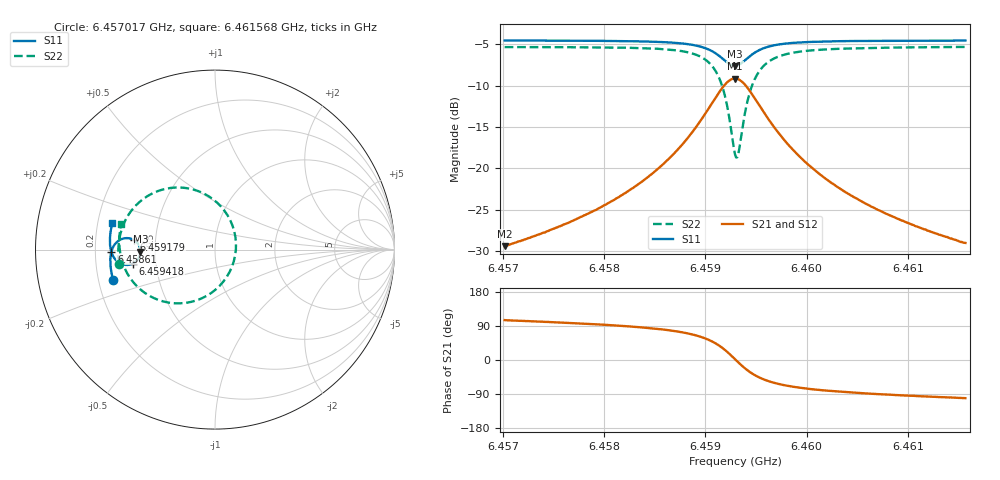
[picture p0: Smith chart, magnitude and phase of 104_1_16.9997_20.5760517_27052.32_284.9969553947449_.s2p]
#  HZ  S  RI  R  50.00
! Rohde & Schwarz Vector Network Analyzer
! Rohde-Schwarz,ZNB20-2Port,1311601062101988,3.16
! Created: UTC 3/20/2024, 10:56:45 PM
! freq[Hz]  re:S11  im:S11  re:S21  im:S21  re:S12  im:S12  re:S22  im:S22
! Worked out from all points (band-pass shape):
!   401 points, 6.457017 GHz to 6.461568 GHz, reference 50 ohm
!   highest |S21| = -9.15 dB at 6.459292 GHz (marker M1); lowest = -29.4 dB at 6.457017 GHz (marker M2)
!   |S21| within 3 dB of the highest: 6.459065 GHz to 6.45952 GHz (455.2 kHz wide, 0.00705 % of centre)
!   lowest |S11| = -7.6 dB at 6.459292 GHz (marker M3), VSWR 2.42, Z = 20.6 - j0.544 ohm
!   |S11| at or under -10 dB: nowhere
!   |S22| runs from -18.7 to -5.3 dB; largest |S21 - S12| = 0.014
!   S11 on the Smith chart (normalised r, x): 6.457017 GHz: 0.26, -0.14; 6.45861 GHz: 0.27, -0.01; 6.459179 GHz: 0.38, +0.05; 6.459418 GHz: 0.37, -0.07; 6.461568 GHz: 0.26, +0.12
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6.4570169e9  -0.5668 -0.1706  -0.00897 0.0328  -0.00712 0.0328  -0.5336 -0.0806
6.4577792e9  -0.5807 -0.1035  -0.00541 0.0509  -0.00293 0.0502  -0.5386 0.00894
6.4582002e9  -0.5835 -0.0613  0.000616 0.0707  0.00386 0.0692  -0.5298 0.0765
6.4585415e9  -0.5795 -0.0202  0.0147 0.0996  0.0186 0.097  -0.5037 0.1541
6.4586098e9  -0.5772 -0.0106  0.02 0.1082  0.0241 0.1049  -0.4935 0.1742
6.4588032e9  -0.5644 0.0199  0.0468 0.1392  0.0511 0.1343  -0.4433 0.2435
6.4589511e9  -0.5415 0.0463  0.0927 0.1701  0.0959 0.1633  -0.3587 0.3079
6.4590877e9  -0.497 0.0639  0.181 0.1867  0.1818 0.1793  -0.1979 0.3459
6.4591787e9  -0.4519 0.0533  0.2718 0.1547  0.272 0.1489  -0.0302 0.294
6.459247e9  -0.4225 0.0206  0.3326 0.0817  0.3347 0.0765  0.0854 0.1625
6.4592925e9  -0.4156 -0.0109  0.3487 0.0131  0.3526 0.00607  0.1169 0.0341
6.4593039e9  -0.4159 -0.019  0.3485 -0.0048  0.3526 -0.0125  0.1164 0.000129
6.4593266e9  -0.4196 -0.0348  0.3428 -0.0399  0.3467 -0.0492  0.1044 -0.0661
6.4593721e9  -0.4355 -0.0613  0.3136 -0.1002  0.3159 -0.1123  0.0456 -0.1796
6.4594176e9  -0.4578 -0.0778  0.271 -0.1413  0.2701 -0.1549  -0.0408 -0.2543
6.4595087e9  -0.5016 -0.0848  0.1854 -0.1724  0.1791 -0.1841  -0.2111 -0.2995
6.4596566e9  -0.546 -0.0643  0.0968 -0.1581  0.0883 -0.1643  -0.3791 -0.2489
6.4598159e9  -0.5677 -0.0366  0.0516 -0.1299  0.044 -0.1327  -0.4597 -0.176
6.4600548e9  -0.5807 -0.00113  0.0223 -0.098  0.0166 -0.0986  -0.5075 -0.0934
6.4603848e9  -0.5853 0.0384  0.00671 -0.0715  0.00254 -0.0713  -0.5286 -0.0163
6.4608171e9  -0.5837 0.0821  -0.00132 -0.0523  -0.00428 -0.0514  -0.533 0.054
6.4615681e9  -0.5719 0.149  -0.00657 -0.0349  -0.00822 -0.034  -0.5217 0.1431
